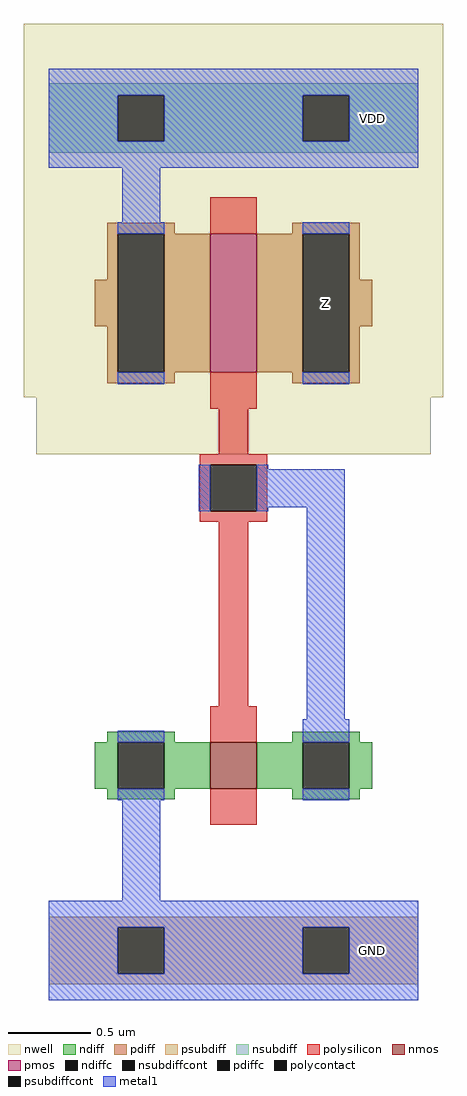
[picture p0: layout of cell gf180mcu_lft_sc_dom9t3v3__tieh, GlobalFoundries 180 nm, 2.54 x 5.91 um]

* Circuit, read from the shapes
.subckt gf180mcu_lft_sc_dom9t3v3__tieh GND VDD Z
XM1 n1 n1 GND GND nfet_03v3 w=0.28u l=0.28u
XM2 Z n1 VDD VDD pfet_03v3 w=0.84u l=0.28u
.ends

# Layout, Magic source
magic
tech gf180mcuD
magscale 1 10
<< nwell >>
rect -30 670 478 1122
rect -15 601 463 670
<< nmos >>
rect 196 196 252 252
<< pmos >>
rect 196 700 252 868
<< ndiff >>
rect 71 252 153 265
rect 295 252 377 265
rect 56 196 84 252
rect 140 196 196 252
rect 252 196 308 252
rect 364 196 392 252
rect 71 183 153 196
rect 295 183 377 196
<< pdiff >>
rect 71 868 153 881
rect 295 868 377 881
rect 71 812 84 868
rect 56 756 84 812
rect 71 700 84 756
rect 140 700 196 868
rect 252 700 308 868
rect 364 812 377 868
rect 364 756 392 812
rect 364 700 377 756
rect 71 687 153 700
rect 295 687 377 700
<< ndiffc >>
rect 84 196 140 252
rect 308 196 364 252
<< pdiffc >>
rect 84 700 140 868
rect 308 700 364 868
<< psubdiff >>
rect 0 28 448 41
rect 0 -28 84 28
rect 140 -28 308 28
rect 364 -28 448 28
rect 0 -41 448 -28
<< nsubdiff >>
rect 0 1036 448 1050
rect 0 980 84 1036
rect 140 980 308 1036
rect 364 980 448 1036
rect 0 966 448 980
<< psubdiffcont >>
rect 84 -28 140 28
rect 308 -28 364 28
<< nsubdiffcont >>
rect 84 980 140 1036
rect 308 980 364 1036
<< polysilicon >>
rect 196 868 252 912
rect 196 656 252 700
rect 206 601 242 656
rect 183 588 265 601
rect 183 532 196 588
rect 252 532 265 588
rect 183 519 265 532
rect 206 296 242 519
rect 196 252 252 296
rect 196 152 252 196
<< polycontact >>
rect 196 532 252 588
<< metal1 >>
rect 0 1036 448 1068
rect 0 980 84 1036
rect 140 980 308 1036
rect 364 980 448 1036
rect 0 948 448 980
rect 89 882 135 948
rect 84 868 140 882
rect 84 686 140 700
rect 308 868 364 882
rect 308 686 364 700
rect 182 532 196 588
rect 252 583 266 588
rect 252 537 359 583
rect 252 532 266 537
rect 313 280 359 537
rect 84 252 140 266
rect 84 182 140 196
rect 308 252 364 280
rect 308 182 364 196
rect 89 60 135 182
rect 0 28 448 60
rect 0 -28 84 28
rect 140 -28 308 28
rect 364 -28 448 28
rect 0 -60 448 -28
<< labels >>
rlabel metal1 392 0 392 0 3 GND
port 1 e
rlabel metal1 392 1008 392 1008 3 VDD
port 2 e
rlabel pdiffc 336 784 336 784 3 Z
port 3 e
<< properties >>
string FIXED_BBOX 0 0 448 1008
<< end >>
